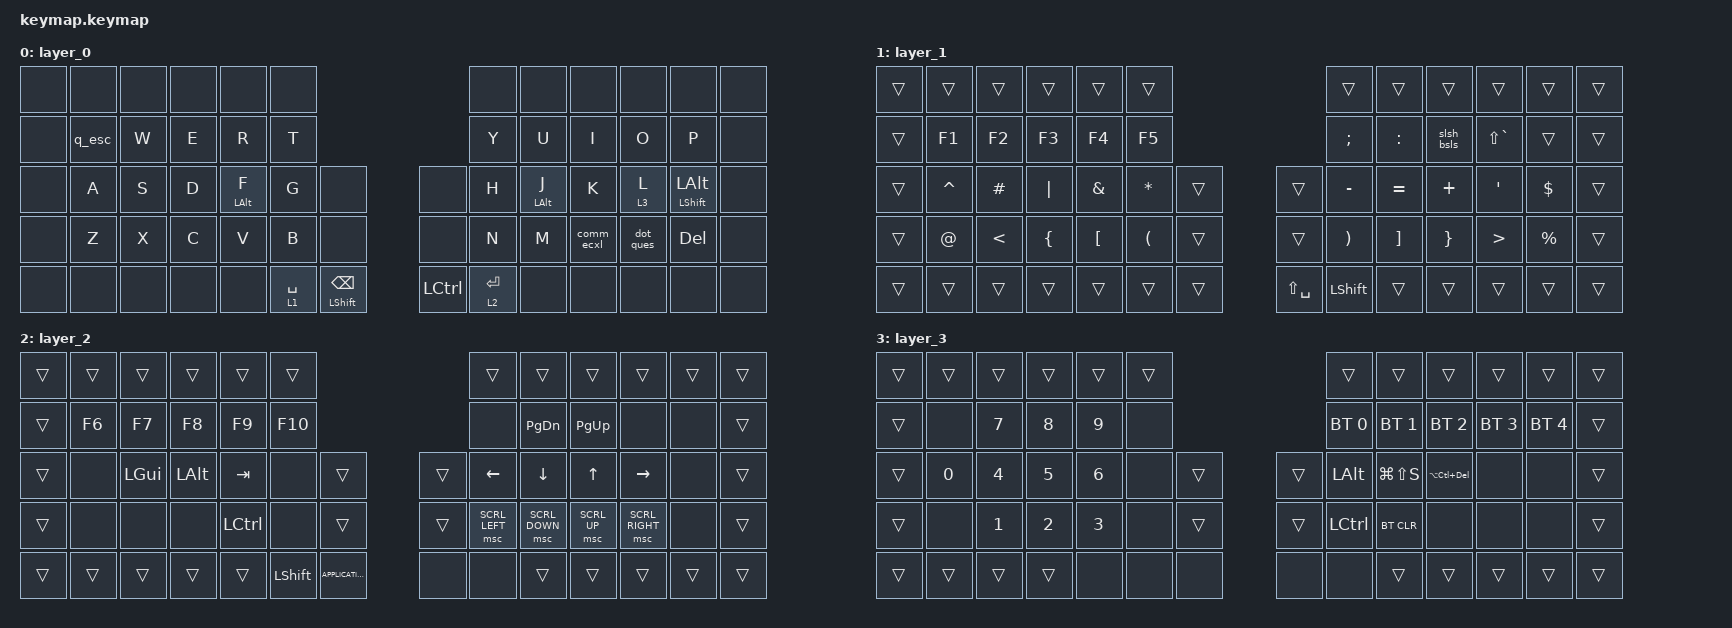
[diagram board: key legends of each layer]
#include <behaviors.dtsi>
#include <dt-bindings/zmk/bt.h>
#include <dt-bindings/zmk/keys.h>
#include <dt-bindings/zmk/pointing.h>

/ {
    combos {
        compatible = "zmk,combos";

        left_click {
            bindings = <&mkp LCLK>;
            key-positions = <34 33>;
        };

        right_click {
            bindings = <&mkp RCLK>;
            key-positions = <34 35>;
        };

        btn4 {
            bindings = <&mkp MB4>;
            key-positions = <47 48>;
        };

        btn5 {
            bindings = <&mkp MB5>;
            key-positions = <48 49>;
        };

        tab {
            bindings = <&kp TAB>;
            key-positions = <27 26>;
        };
    };

    behaviors {
        dot_ques: dot_ques {
            compatible = "zmk,behavior-mod-morph";
            label = "DOT_QUES";
            bindings = <&kp DOT>, <&kp QUESTION>;

            #binding-cells = <0>;
            mods = <(MOD_LSFT|MOD_RSFT)>;
        };

        comm_ecxl: comm_ecxl {
            compatible = "zmk,behavior-mod-morph";
            label = "COMM_ECXL";
            bindings = <&kp COMMA>, <&kp EXCLAMATION>;

            #binding-cells = <0>;
            mods = <(MOD_LSFT|MOD_RSFT)>;
        };

        slsh_bsls: slsh_bsls {
            compatible = "zmk,behavior-mod-morph";
            label = "SLSH_BSLS";
            bindings = <&kp SLASH>, <&kp BACKSLASH>;

            #binding-cells = <0>;
            mods = <(MOD_LSFT|MOD_RSFT)>;
        };

        lt_enter_fast: lt_enter_fast {
            compatible = "zmk,behavior-hold-tap";
            label = "LT_ENTER_FAST";
            bindings = <&mo>, <&kp>;

            #binding-cells = <2>;
            tapping-term-ms = <180>;
            flavor = "tap-preferred";
            quick-tap-ms = <200>;
        };

        q_esc: q_esc {
            compatible = "zmk,behavior-tap-dance";
            label = "Q_ESC";
            #binding-cells = <0>;
            bindings = <&kp Q>, <&kp ESCAPE>;

            tapping-term-ms = <200>;
        };

        lt_spac_fast: lt_spac_fast {
            compatible = "zmk,behavior-hold-tap";
            label = "LT_SPAC_FAST";
            bindings = <&mo>, <&kp>;

            #binding-cells = <2>;
            tapping-term-ms = <200>;
            quick-tap-ms = <200>;
            flavor = "tap-preferred";
        };

        backspac_fast: backspac_fast {
            compatible = "zmk,behavior-hold-tap";
            label = "BACKSPAC_FAST";
            bindings = <&kp>, <&kp>;

            #binding-cells = <2>;
            tapping-term-ms = <200>;
            quick-tap-ms = <200>;
            flavor = "tap-preferred";
        };
    };

    keymap {
        compatible = "zmk,keymap";

        layer_0 {
            bindings = <
&none  &none   &none  &none  &none           &none                                                                         &none                   &none           &none       &none      &none                    &none
&none  &q_esc  &kp W  &kp E  &kp R           &kp T                                                                         &kp Y                   &kp U           &kp I       &kp O      &kp P                    &none
&none  &kp A   &kp S  &kp D  &mt LEFT_ALT F  &kp G                  &none                                &none             &kp H                   &mt LEFT_ALT J  &kp K       &lt 3 L    &mt LEFT_SHIFT LEFT_ALT  &none
&none  &kp Z   &kp X  &kp C  &kp V           &kp B                  &none                                &none             &kp N                   &kp M           &comm_ecxl  &dot_ques  &kp DELETE               &none
&none  &none   &none  &none  &none           &lt_spac_fast 1 SPACE  &backspac_fast LEFT_SHIFT BACKSPACE  &kp LEFT_CONTROL  &lt_enter_fast 2 ENTER  &none           &none       &none      &none                    &none
            >;
        };

        layer_1 {
            bindings = <
&trans  &trans     &trans         &trans          &trans            &trans                                       &trans                 &trans             &trans           &trans            &trans       &trans
&trans  &kp F1     &kp F2         &kp F3          &kp F4            &kp F5                                       &kp SEMICOLON          &kp COLON          &slsh_bsls       &kp LS(GRAVE)     &trans       &trans
&trans  &kp CARET  &kp HASH       &kp PIPE        &kp AMPERSAND     &kp ASTERISK          &trans  &trans         &kp MINUS              &kp EQUAL          &kp PLUS         &kp SINGLE_QUOTE  &kp DOLLAR   &trans
&trans  &kp AT     &kp LESS_THAN  &kp LEFT_BRACE  &kp LEFT_BRACKET  &kp LEFT_PARENTHESIS  &trans  &trans         &kp RIGHT_PARENTHESIS  &kp RIGHT_BRACKET  &kp RIGHT_BRACE  &kp GREATER_THAN  &kp PERCENT  &trans
&trans  &trans     &trans         &trans          &trans            &trans                &trans  &kp LS(SPACE)  &kp LEFT_SHIFT         &trans             &trans           &trans            &trans       &trans
            >;
        };

        layer_2 {
            bindings = <
&trans  &trans  &trans        &trans        &trans     &trans                                     &trans          &trans          &trans        &trans           &trans  &trans
&trans  &kp F6  &kp F7        &kp F8        &kp F9     &kp F10                                    &none           &kp PAGE_DOWN   &kp PG_UP     &none            &none   &trans
&trans  &none   &kp LEFT_GUI  &kp LEFT_ALT  &kp TAB    &none           &trans             &trans  &kp LEFT        &kp DOWN        &kp UP        &kp RIGHT        &none   &trans
&trans  &none   &none         &none         &kp LCTRL  &none           &trans             &trans  &msc SCRL_LEFT  &msc SCRL_DOWN  &msc SCRL_UP  &msc SCRL_RIGHT  &none   &trans
&trans  &trans  &trans        &trans        &trans     &kp LEFT_SHIFT  &kp K_APPLICATION  &none   &none           &trans          &trans        &trans           &trans  &trans
            >;
        };

        layer_3 {
            bindings = <
&trans  &trans  &trans        &trans        &trans        &trans                  &trans        &trans         &trans              &trans        &trans        &trans
&trans  &none   &kp N7        &kp N8        &kp N9        &none                   &bt BT_SEL 0  &bt BT_SEL 1   &bt BT_SEL 2        &bt BT_SEL 3  &bt BT_SEL 4  &trans
&trans  &kp N0  &kp NUMBER_4  &kp N5        &kp NUMBER_6  &none   &trans  &trans  &kp LEFT_ALT  &kp LG(LS(S))  &kp LA(LC(DELETE))  &none         &none         &trans
&trans  &none   &kp NUMBER_1  &kp NUMBER_2  &kp NUMBER_3  &none   &trans  &trans  &kp LCTRL     &bt BT_CLR     &none               &none         &none         &trans
&trans  &trans  &trans        &trans        &none         &none   &none   &none   &none         &trans         &trans              &trans        &trans        &trans
            >;
        };
    };
};
